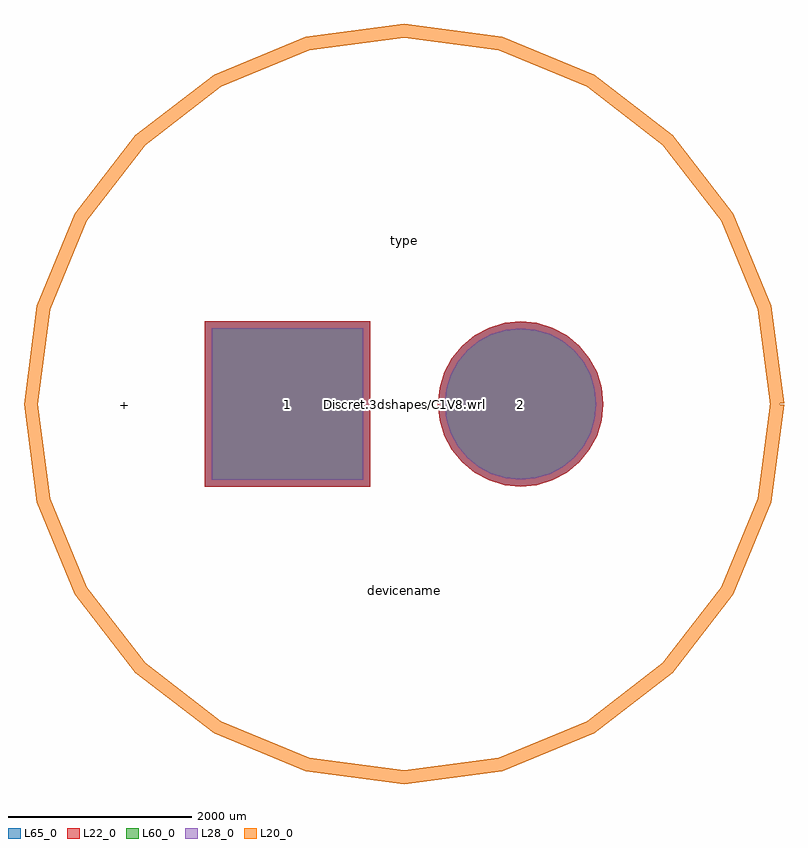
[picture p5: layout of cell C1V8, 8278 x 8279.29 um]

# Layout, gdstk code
import gdstk
lib = gdstk.Library(unit=1e-6, precision=1e-09)
def R(c, l, rs):  # rectangles x0, y0, x1, y1
    for r in rs: c.add(gdstk.rectangle(r[:2], r[2:], *l))
def P(c, l, *ps):  # polygons
    for p in ps: c.add(gdstk.Polygon(p, *l))
L20_0 = (20, 0)
L22_0 = (22, 0)
L28_0 = (28, 0)
L60_0 = (60, 0)
L65_0 = (65, 0)

c1v8 = lib.new_cell('C1V8')
R(c1v8, L22_0, [(-2170.5,-900.5,-369.5,900.5)])
P(c1v8, L22_0, [(2170.5,0),(2153.197,175.679),(2101.954,344.606),(2018.738,500.291),(1906.75,636.75),(1770.291,748.738),(1614.606,831.954),(1445.679,883.197),(1270,900.5),(1094.321,883.197),(925.394,831.954),(769.709,748.738),(633.25,636.75),(521.262,500.291),(438.046,344.606),(386.803,175.679),(369.5,0),(386.803,-175.679),(438.046,-344.606),(521.262,-500.291),(633.25,-636.75),(769.709,-748.738),(925.394,-831.954),(1094.321,-883.197),(1270,-900.5),(1445.679,-883.197),(1614.606,-831.954),(1770.291,-748.738),(1906.75,-636.75),(2018.738,-500.291),(2101.954,-344.606),(2153.197,-175.679)])
R(c1v8, L28_0, [(-2095.5,-825.5,-444.5,825.5)])
P(c1v8, L28_0, [(2095.5,0),(2079.638,161.047),(2032.663,315.905),(1956.378,458.623),(1853.717,583.717),(1728.623,686.378),(1585.905,762.663),(1431.047,809.638),(1270,825.5),(1108.953,809.638),(954.095,762.663),(811.377,686.378),(686.283,583.717),(583.622,458.623),(507.337,315.905),(460.362,161.047),(444.5,0),(460.362,-161.047),(507.337,-315.905),(583.622,-458.623),(686.283,-583.717),(811.377,-686.378),(954.095,-762.663),(1108.953,-809.638),(1270,-825.5),(1431.047,-809.638),(1585.905,-762.663),(1728.623,-686.378),(1853.717,-583.717),(1956.378,-458.623),(2032.663,-315.905),(2079.638,-161.047)])
R(c1v8, L60_0, [(-2095.5,-825.5,-444.5,825.5)])
P(c1v8, L60_0, [(2095.5,0),(2079.638,161.047),(2032.663,315.905),(1956.378,458.623),(1853.717,583.717),(1728.623,686.378),(1585.905,762.663),(1431.047,809.638),(1270,825.5),(1108.953,809.638),(954.095,762.663),(811.377,686.378),(686.283,583.717),(583.622,458.623),(507.337,315.905),(460.362,161.047),(444.5,0),(460.362,-161.047),(507.337,-315.905),(583.622,-458.623),(686.283,-583.717),(811.377,-686.378),(954.095,-762.663),(1108.953,-809.638),(1270,-825.5),(1431.047,-809.638),(1585.905,-762.663),(1728.623,-686.378),(1853.717,-583.717),(1956.378,-458.623),(2032.663,-315.905),(2079.638,-161.047)])
R(c1v8, L65_0, [(-2170.5,-900.5,-369.5,900.5)])
P(c1v8, L65_0, [(2170.5,0),(2153.197,175.679),(2101.954,344.606),(2018.738,500.291),(1906.75,636.75),(1770.291,748.738),(1614.606,831.954),(1445.679,883.197),(1270,900.5),(1094.321,883.197),(925.394,831.954),(769.709,748.738),(633.25,636.75),(521.262,500.291),(438.046,344.606),(386.803,175.679),(369.5,0),(386.803,-175.679),(438.046,-344.606),(521.262,-500.291),(633.25,-636.75),(769.709,-748.738),(925.394,-831.954),(1094.321,-883.197),(1270,-900.5),(1445.679,-883.197),(1614.606,-831.954),(1770.291,-748.738),(1906.75,-636.75),(2018.738,-500.291),(2101.954,-344.606),(2153.197,-175.679)])
c1v8.add(gdstk.FlexPath([(4064,0),(3925.523,1051.841),(3519.527,2032),(2873.682,2873.682),(2032,3519.527),(1051.841,3925.523),(0,4064),(-1051.841,3925.523),(-2032,3519.527),(-2873.682,2873.682),(-3519.527,2032),(-3925.523,1051.841),(-4064,0),(-3925.523,-1051.841),(-3519.527,-2032),(-2873.682,-2873.682),(-2032,-3519.527),(-1051.841,-3925.523),(0,-4064),(1051.841,-3925.523),(2032,-3519.527),(2873.682,-2873.682),(3519.527,-2032),(3925.523,-1051.841),(4064,0)], 149.998, ends="flush", simple_path=True, layer=20, datatype=0))  # L20_0
c1v8.add(gdstk.Label('Discret.3dshapes/C1V8.wrl', (0,0), layer=12, texttype=0))
c1v8.add(gdstk.Label('2', (1270,0), layer=28, texttype=0))
c1v8.add(gdstk.Label('1', (-1270,0), layer=28, texttype=0))
c1v8.add(gdstk.Label('+', (-3045.46,0), layer=9, texttype=0))
c1v8.add(gdstk.Label('type', (0,1775.46), layer=9, texttype=0))
c1v8.add(gdstk.Label('devicename', (0,-2032), layer=9, texttype=0))

lib.write_gds('C1V8.gds')
